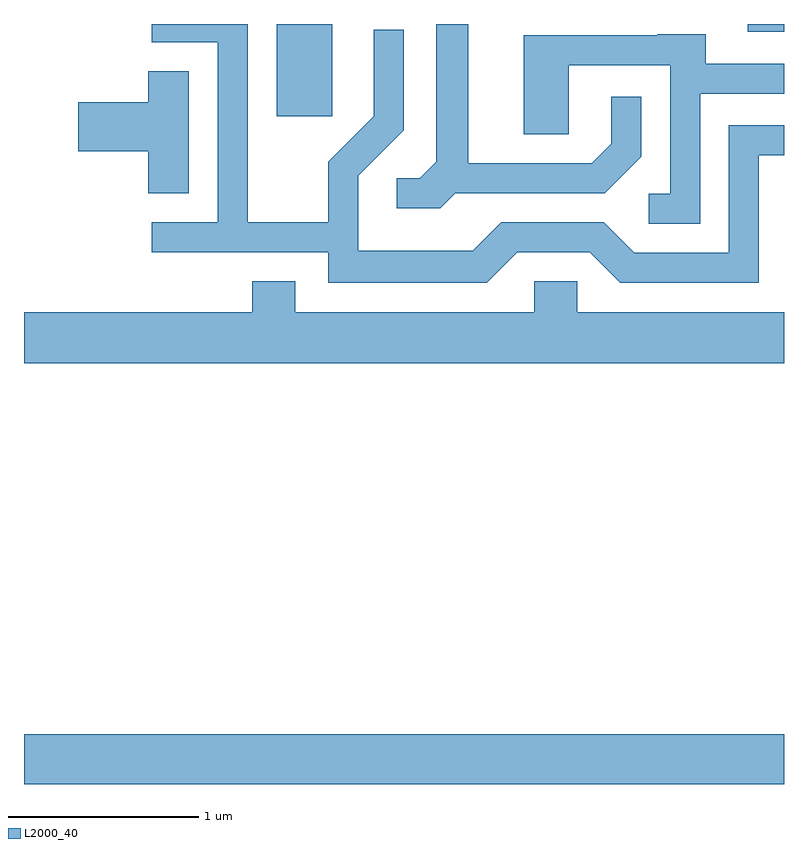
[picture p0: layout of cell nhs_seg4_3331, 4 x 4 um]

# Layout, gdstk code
import gdstk
lib = gdstk.Library(unit=1e-6, precision=1e-09)
def R(c, l, rs):  # rectangles x0, y0, x1, y1
    for r in rs: c.add(gdstk.rectangle(r[:2], r[2:], *l))
def P(c, l, *ps):  # polygons
    for p in ps: c.add(gdstk.Polygon(p, *l))
L2000_40 = (2000, 40)

nhs_seg4_3331 = lib.new_cell('nhs_seg4_3331')
R(nhs_seg4_3331, L2000_40, [(281.611,1387.982,285.611,1388.244), (282.941,1391.496,283.234,1391.982), (285.421,1391.941,285.611,1391.982)])
P(nhs_seg4_3331, L2000_40, [(283.882,1391.091),(284.667,1391.091),(284.859,1391.284),(284.859,1391.598),(284.701,1391.598),(284.701,1391.352),(284.599,1391.249),(283.949,1391.249),(283.949,1391.982),(283.781,1391.982),(283.781,1391.257),(283.694,1391.169),(283.573,1391.169),(283.573,1391.011),(283.802,1391.011)],
  [(284.207,1390.781),(284.589,1390.781),(284.749,1390.621),(285.479,1390.621),(285.479,1391.291),(285.611,1391.291),(285.611,1391.449),(285.321,1391.449),(285.321,1390.779),(284.822,1390.779),(284.662,1390.939),(284.124,1390.939),(283.974,1390.789),(283.369,1390.789),(283.369,1391.184),(283.609,1391.424),(283.609,1391.953),(283.451,1391.953),(283.451,1391.497),(283.211,1391.257),(283.211,1390.939),(282.789,1390.939),(282.789,1391.982),(282.283,1391.982),(282.283,1391.886),(282.631,1391.886),(282.631,1390.939),(282.283,1390.939),(282.283,1390.781),(283.211,1390.781),(283.211,1390.621),(284.047,1390.621)],
  [(285.169,1391.616),(285.611,1391.616),(285.611,1391.774),(285.199,1391.774),(285.199,1391.929),(284.945,1391.929),(284.945,1391.924),(284.241,1391.924),(284.241,1391.401),(284.479,1391.401),(284.479,1391.766),(285.011,1391.766),(285.011,1391.089),(284.898,1391.089),(284.898,1390.931),(285.169,1390.931)],
  [(282.479,1391.734),(282.266,1391.734),(282.266,1391.569),(281.896,1391.569),(281.896,1391.311),(282.266,1391.311),(282.266,1391.091),(282.479,1391.091)],
  [(285.611,1390.464),(284.524,1390.464),(284.524,1390.629),(284.296,1390.629),(284.296,1390.464),(283.039,1390.464),(283.039,1390.629),(282.811,1390.629),(282.811,1390.464),(281.611,1390.464),(281.611,1390.196),(285.611,1390.196)])

lib.write_gds('nhs_seg4_3331.gds')
